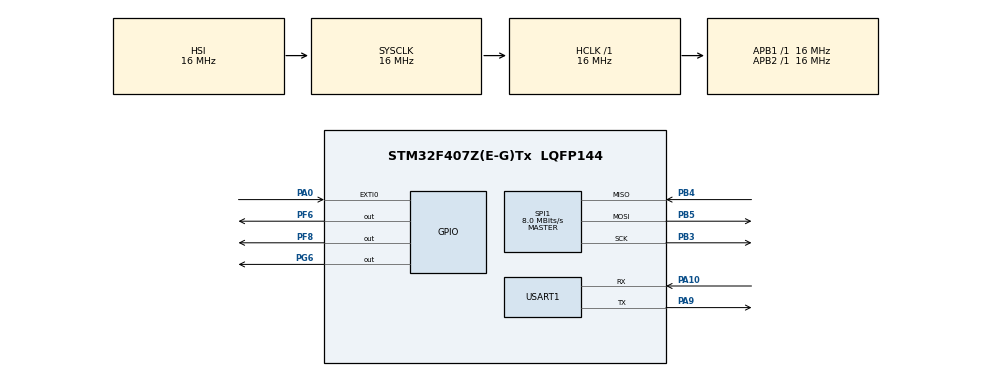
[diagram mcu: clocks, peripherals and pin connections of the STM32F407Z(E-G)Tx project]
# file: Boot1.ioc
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Mcu.Family=STM32F4
Mcu.Name=STM32F407Z(E-G)Tx
Mcu.Package=LQFP144
NVIC.EXTI0_IRQn=true\:0\:0\:true\:false\:true\:true\:true\:true
NVIC.PriorityGroup=NVIC_PRIORITYGROUP_4
NVIC.USART1_IRQn=true\:0\:0\:true\:false\:true\:true\:true\:true
PA0-WKUP.GPIO_ModeDefaultEXTI=GPIO_MODE_IT_RISING
PA0-WKUP.Signal=GPXTI0
PA10.Mode=Asynchronous
PA10.Signal=USART1_RX
PA13.Mode=Serial_Wire
PA13.Signal=SYS_JTMS-SWDIO
PA14.Mode=Serial_Wire
PA14.Signal=SYS_JTCK-SWCLK
PA9.Mode=Asynchronous
PA9.Signal=USART1_TX
PB3.Mode=Full_Duplex_Master
PB3.Signal=SPI1_SCK
PB4.Mode=Full_Duplex_Master
PB4.Signal=SPI1_MISO
PB5.Mode=Full_Duplex_Master
PB5.Signal=SPI1_MOSI
PF6.GPIO_ModeDefaultOutputPP=GPIO_MODE_OUTPUT_PP
PF6.GPIO_PuPd=GPIO_NOPULL
PF6.GPIO_Speed=GPIO_SPEED_FREQ_LOW
PF6.PinState=GPIO_PIN_SET
PF6.Signal=GPIO_Output
PF8.PinState=GPIO_PIN_SET
PF8.Signal=GPIO_Output
PG6.GPIO_PuPd=GPIO_PULLUP
PG6.PinState=GPIO_PIN_RESET
PG6.Signal=GPIO_Output
ProjectManager.HeapSize=0x200
ProjectManager.StackSize=0x400
ProjectManager.TargetToolchain=MDK-ARM V5.32
RCC.AHBFreq_Value=16000000
RCC.APB1Freq_Value=16000000
RCC.APB2Freq_Value=16000000
RCC.CortexFreq_Value=16000000
RCC.HSE_VALUE=25000000
RCC.HSI_VALUE=16000000
RCC.LSE_VALUE=32768
RCC.SYSCLKFreq_VALUE=16000000
RCC.VCOOutputFreq_Value=192000000
SPI1.CLKPhase=SPI_PHASE_2EDGE
SPI1.CLKPolarity=SPI_POLARITY_HIGH
SPI1.CalculateBaudRate=8.0 MBits/s
SPI1.Direction=SPI_DIRECTION_2LINES
SPI1.Mode=SPI_MODE_MASTER
SPI1.VirtualType=VM_MASTER
USART1.VirtualMode=VM_ASYNC
VP_RTC_VS_RTC_Activate.Mode=RTC_Enabled
board=custom

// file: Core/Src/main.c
/* USER CODE BEGIN Header */
/**
  ******************************************************************************
  * @file           : main.c
  * @brief          : Main program body
  ******************************************************************************
  * @attention
  *
  * Copyright (c) 2026 STMicroelectronics.
  * All rights reserved.
  *
  * This software is licensed under terms that can be found in the LICENSE file
  * in the root directory of this software component.
  * If no LICENSE file comes with this software, it is provided AS-IS.
  *
  ******************************************************************************
  */
/* USER CODE END Header */
#include "main.h"

/* USER CODE BEGIN Includes */
#include "SPI_FLASH.h"
#include "ProtocolFrame.h"
#include "FLASH_Transmit.h"
#include "A_B.h"
#include <string.h>

#include <stdio.h>
#include <stdarg.h>

/* USER CODE END Includes */

RTC_HandleTypeDef hrtc;

SPI_HandleTypeDef hspi1;

UART_HandleTypeDef huart1;

/* USER CODE BEGIN PV */

static char DataTx_BootMode[]="BOOT_MODE";
static char DataTx_Wait[]="\r\nWait  Data\r\n";
static char DataTx_jump[]="\r\njump to app\r\n";
static char DataTx_upgrade[]="\r\n enter upgrade mode\r\n";
static char DataTx_UKnow[]="\r\nUnknow cmd\r\n";

/* USER CODE END PV */

void SystemClock_Config(void);
static void MX_GPIO_Init(void);
static void MX_USART1_UART_Init(void);
static void MX_SPI1_Init(void);
static void MX_RTC_Init(void);

/* USER CODE BEGIN 0 */
volatile 	uint32_t Last_Data;
volatile	uint32_t Page_Num;
volatile uint32_t Addr;
volatile uint32_t Bin_Size;

uint8_t FLASH_Data[256];
uint8_t Frame_Val;
uint8_t ACK=0x06;
uint8_t NACK=0x15;
   //接收命令缓存
		volatile uint8_t RxCount=0;
		 uint8_t RxTemp=0;
		volatile uint8_t Rx_Flag_Cmd=0;
		char DataRx[32]={0};
static volatile  uint8_t key_pressed=0;

extern void OTA_Process(void);

#define APP_ADDRESS  0x08008000U
typedef void (*pFunction)(void);

void HAL_GPIO_EXTI_Callback(uint16_t GPIO_Pin)
{
    if (GPIO_Pin == GPIO_PIN_0)
    {
        key_pressed = 1;
    }
}

 void Uart_SendStr(char *str)
{
    HAL_UART_Transmit(&huart1, (uint8_t *)str, strlen(str), HAL_MAX_DELAY);
}

 void Uart_Printf(const char *fmt, ...)
{
    char buf[128];
    va_list args;

    va_start(args, fmt);
    vsnprintf(buf, sizeof(buf), fmt, args);
    va_end(args);

    HAL_UART_Transmit(&huart1, (uint8_t *)buf, strlen(buf), HAL_MAX_DELAY);
}
typedef struct
{
 	 uint32_t boot_mode;
	 uint32_t upgrade_mode;
} boot_flag;

	boot_flag BootFlag={0};

void JumpToApplication(void)
{
    uint32_t app_sp    = *(__IO uint32_t*)APP_ADDRESS;
    uint32_t app_reset = *(__IO uint32_t*)(APP_ADDRESS + 4);

    if ((app_sp & 0x2FFE0000U) == 0x20000000U)
    {
        __disable_irq();

        SysTick->CTRL = 0;
        SysTick->LOAD = 0;
        SysTick->VAL  = 0;

        for (uint32_t i = 0; i < 8; i++)
        {
            NVIC->ICER[i] = 0xFFFFFFFF;
            NVIC->ICPR[i] = 0xFFFFFFFF;
        }

        SCB->VTOR = APP_ADDRESS;
        __set_MSP(app_sp);

        pFunction app_entry = (pFunction)app_reset;
        app_entry();
    }
}

		//
		uint8_t Rx_Data_upgrade[268] = {0};
		uint8_t Rx_Data_First[268]={0};
    volatile uint8_t upgrade_block_ready = 0;
		  volatile uint8_t upgrade_rx_busy =0;
		volatile uint8_t Upgrade_complete=0;

void HAL_UART_RxCpltCallback(UART_HandleTypeDef *huart)
{
	if(huart->Instance == USART1)
	{

		if(BootFlag.upgrade_mode==1)
	{
//		HAL_UART_Receive_IT(&huart1,Rx_Data_upgrade,16);
		upgrade_block_ready=1;//字节已经收满
	}
		//将接收到的数据全部保存到DataRx中，然后置位Rx_Flag_Cmd=1以及Flag
		//当while检测到Rx_Flag_Cmd=1时，将DataRx数据输出到串口
   else if (Rx_Flag_Cmd == 0)   // 只有上一条还没处理完时，才继续往 DataRx 里装
     {
         if (RxTemp == '\r' || RxTemp == '\n')
         {
             if (RxCount > 0)
             {
                 DataRx[RxCount] = '\0';
                 Rx_Flag_Cmd = 1;
             }
         }

		 else if (RxCount < sizeof(DataRx) - 1)
          {
              DataRx[RxCount] = RxTemp;
              RxCount++;

						HAL_UART_Receive_IT(&huart1,&RxTemp,1);
          }

	}
 return;
}

}
uint8_t calculate(uint8_t *rx_buff)
{
    Bin_Size = Get_Bin_Size(rx_buff);

	   // 读取Bin大小
    Firmware_Info info = {0};
	    Read_Firmware_Info(FlAG_FLASH_ADDR, &info);
	    info.bin_size = Bin_Size;
	info.upgrade_flag = 1;//数据写入，表示有新固件
//    info.active_app = 0;
    info.valid_app=0;//未写入内部FLASH,不知道能否在APP中稳定运行
										//等待APP置1或者回滚版本置1
    Write_Firmware_Info(FlAG_FLASH_ADDR, &info);

    uint8_t Status = Sectors_Erase(Addr, Bin_Size);
    if(Status == 0)
    {
        Page_Num = Bin_Size / 256;
        Last_Data = Bin_Size % 256;
        return 0;
    }
    else
    {
        HAL_UART_Transmit(&huart1, (uint8_t*)"Erase Failed", 12, HAL_MAX_DELAY);
        return 1;
    }
}

void Upgrade_Mode(void)
{
	Addr = DOWNLOAD_FLASH_ADDR;

	    // 清空串口缓冲区
    __HAL_UART_FLUSH_DRREGISTER(&huart1);
	Frame_t *frame = (Frame_t *)Rx_Data_upgrade;

	//接收第一条指令
	 upgrade_block_ready = 0;
    HAL_UART_Receive_IT(&huart1, Rx_Data_First, 268);

    while(upgrade_block_ready == 0);

		if(Parse_Frame(Rx_Data_First) == 0)  // 先验证
	{
			if(calculate(Rx_Data_First) == 0)  // 再处理
			{
					HAL_UART_Transmit(&huart1,&ACK,1,HAL_MAX_DELAY);
			}
	else
    {
     	HAL_UART_Transmit(&huart1, (uint8_t*)"Failed\r\n", 8, 100);
    }

	}
    // 接收整页
    for(uint32_t i = 0; i < Page_Num; i++)
    {
        upgrade_block_ready = 0;

        HAL_UART_Receive_IT(&huart1, Rx_Data_upgrade, 268);

			while(upgrade_block_ready == 0);  // 等待接收完成,为1会跳出循环

			Frame_Val=Parse_Frame(Rx_Data_upgrade);

			if(Frame_Val==0)
			{
			Page_Program(Addr, frame->data, 256);
		  Addr += 256;

			HAL_UART_Transmit(&huart1,&ACK,1,HAL_MAX_DELAY);
			}
			else
			{
			HAL_UART_Transmit(&huart1,&NACK,1,HAL_MAX_DELAY);
			}
		}
if(Last_Data > 0)
{
    upgrade_block_ready = 0;
    HAL_UART_Receive_IT(&huart1, Rx_Data_upgrade, 268);  // 改成 268

    while(upgrade_block_ready == 0);

    Frame_Val = Parse_Frame(Rx_Data_upgrade);

    if(Frame_Val == 0)
    {
        Page_Program(Addr, frame->data, Last_Data);  // 只写有效数据
        HAL_UART_Transmit(&huart1, &ACK, 1, HAL_MAX_DELAY);
    }
    else
    {
        HAL_UART_Transmit(&huart1, &NACK, 1, HAL_MAX_DELAY);
    }
}
    // 升级完成
    HAL_UART_Transmit(&huart1, (uint8_t*)"Upgrade Done\r\n", 14, 100);
    BootFlag.upgrade_mode = 0;
		Upgrade_complete=1;
}

void Boot_ProcessCmd(char *pDataRx)
{
			if(strcmp(pDataRx, "info") == 0)
			{
				//当前运行版本的信息
				Firmware_Info Info = {0};
				Read_Firmware_Info(FlAG_FLASH_ADDR, &Info);

     Uart_Printf("flag:%d valid:%d active:%02X size:%lu\r\n",
                Info.upgrade_flag,
                Info.valid_app,
                Info.active_app,
                Info.bin_size);
			}
			else if(strcmp(pDataRx, "jump") == 0)
			{
			HAL_UART_Transmit(&huart1,(uint8_t*)DataTx_jump,strlen(DataTx_jump),100);
				JumpToApplication();
			}
			else if(strcmp(pDataRx, "upgrade") == 0)
			{
			HAL_UART_Transmit(&huart1,(uint8_t*)DataTx_upgrade,strlen(DataTx_upgrade),100);

			Rx_Flag_Cmd=0;
			memset(DataRx,0,sizeof(DataRx));
			RxCount=0;
			BootFlag.upgrade_mode=1;

			HAL_UART_AbortReceive(&huart1);

			}
			else
			{
			HAL_UART_Transmit(&huart1,(uint8_t*)DataTx_UKnow,strlen(DataTx_UKnow),100);

			}

}

void Boot_Wait(void)
	{
		HAL_UART_Receive_IT(&huart1,&RxTemp,1);
		HAL_UART_Transmit(&huart1,(uint8_t*)DataTx_BootMode,strlen(DataTx_BootMode),100);
		HAL_UART_Transmit(&huart1,(uint8_t*)DataTx_Wait,strlen(DataTx_Wait),100);

	 while(1)
	 {
	 HAL_GPIO_WritePin(GPIOF,GPIO_PIN_8,GPIO_PIN_RESET);
		HAL_Delay(50);
			 HAL_GPIO_WritePin(GPIOF,GPIO_PIN_8,GPIO_PIN_SET);
		HAL_Delay(50);

		 if(BootFlag.upgrade_mode==1)
			{
				Upgrade_Mode();

				if(Upgrade_complete==1)
				{

				}
			}

		else if(Rx_Flag_Cmd==1)
		{
		Rx_Flag_Cmd=0;

		//	HAL_UART_Transmit(&huart1,(uint8_t*)DataRx,strlen(DataRx),100);
			Boot_ProcessCmd(DataRx);

			memset(DataRx,0,sizeof(DataRx));
			RxCount=0;

			if(BootFlag.upgrade_mode==0)
			{

			HAL_UART_Transmit(&huart1,(uint8_t*)DataTx_Wait,strlen(DataTx_Wait),100);

			}

		}
		}
}

/* USER CODE END 0 */

int main(void)
{

  /* USER CODE BEGIN 1 */
	uint32_t CurrentTime;
	uint32_t StarttTime;
  uint32_t Backup_Reg;
  /* USER CODE END 1 */

  /* MCU Configuration--------------------------------------------------------*/

  /* Reset of all peripherals, Initializes the Flash interface and the Systick. */
  HAL_Init();

  /* Configure the system clock */
  SystemClock_Config();

  /* Initialize all configured peripherals */
  MX_GPIO_Init();
  MX_USART1_UART_Init();
  MX_SPI1_Init();
  MX_RTC_Init();
  /* USER CODE BEGIN 2 */
HAL_GPIO_WritePin(GPIOG,GPIO_PIN_6,GPIO_PIN_SET);
	HAL_UART_Transmit(&huart1,(uint8_t *)"boot start\r\n",13,HAL_MAX_DELAY);

/////////////////////////////////////////////////////////
		Firmware_Info info={0};
	  Read_Firmware_Info(FlAG_FLASH_ADDR, &info);

		Backup_Reg=HAL_RTCEx_BKUPRead(&hrtc,RTC_BKP_DR1);

		if(info.valid_app==0)
		{
		if(Backup_Reg==VALID_APP)
		{
	HAL_RTCEx_BKUPWrite(&hrtc,RTC_BKP_DR1,0);
		info.valid_app=1;
			HAL_UART_Transmit(&huart1,(uint8_t *)"App is running!\r\n",16,HAL_MAX_DELAY);
		}
	}

		Write_Firmware_Info(FlAG_FLASH_ADDR,&info);

		Uart_Printf("magic:%08lX size:%lu flag:%d valid:%d active:%02X\r\n",
            info.magic, info.bin_size,
            info.upgrade_flag, info.valid_app, info.active_app);

	  if(info.magic!=INFO_MAGIC)
		{
	   Init_Firmware_Info();
		}
   OTA_Process();
///////////////////////////////////////////////////////
    StarttTime=HAL_GetTick();
		CurrentTime=HAL_GetTick();
		while((CurrentTime-StarttTime)<3000)
		{
			HAL_GPIO_WritePin(GPIOF,GPIO_PIN_6,GPIO_PIN_RESET);
			HAL_Delay(100);
			HAL_GPIO_WritePin(GPIOF,GPIO_PIN_6,GPIO_PIN_SET);
			HAL_Delay(100);

			if(key_pressed==1)
			{
			BootFlag.boot_mode=1;
			break;
			}

			CurrentTime=HAL_GetTick();
		}

		if(BootFlag.boot_mode==1)
		{
			Boot_Wait();
		}
		else
			JumpToApplication();

  /* USER CODE END 2 */

  /* Infinite loop */
			while (1)
			{

			}
}

void SystemClock_Config(void)
{
  RCC_OscInitTypeDef RCC_OscInitStruct = {0};
  RCC_ClkInitTypeDef RCC_ClkInitStruct = {0};

  /** Configure the main internal regulator output voltage
  */
  __HAL_RCC_PWR_CLK_ENABLE();
  __HAL_PWR_VOLTAGESCALING_CONFIG(PWR_REGULATOR_VOLTAGE_SCALE1);

  /** Initializes the RCC Oscillators according to the specified parameters
  * in the RCC_OscInitTypeDef structure.
  */
  RCC_OscInitStruct.OscillatorType = RCC_OSCILLATORTYPE_HSI|RCC_OSCILLATORTYPE_LSI;
  RCC_OscInitStruct.HSIState = RCC_HSI_ON;
  RCC_OscInitStruct.HSICalibrationValue = RCC_HSICALIBRATION_DEFAULT;
  RCC_OscInitStruct.LSIState = RCC_LSI_ON;
  RCC_OscInitStruct.PLL.PLLState = RCC_PLL_NONE;
  if (HAL_RCC_OscConfig(&RCC_OscInitStruct) != HAL_OK)
  {
    Error_Handler();
  }

  /** Initializes the CPU, AHB and APB buses clocks
  */
  RCC_ClkInitStruct.ClockType = RCC_CLOCKTYPE_HCLK|RCC_CLOCKTYPE_SYSCLK
                              |RCC_CLOCKTYPE_PCLK1|RCC_CLOCKTYPE_PCLK2;
  RCC_ClkInitStruct.SYSCLKSource = RCC_SYSCLKSOURCE_HSI;
  RCC_ClkInitStruct.AHBCLKDivider = RCC_SYSCLK_DIV1;
  RCC_ClkInitStruct.APB1CLKDivider = RCC_HCLK_DIV1;
  RCC_ClkInitStruct.APB2CLKDivider = RCC_HCLK_DIV1;

  if (HAL_RCC_ClockConfig(&RCC_ClkInitStruct, FLASH_LATENCY_0) != HAL_OK)
  {
    Error_Handler();
  }
}

static void MX_RTC_Init(void)
{

  /** Initialize RTC Only
  */
  hrtc.Instance = RTC;
  hrtc.Init.HourFormat = RTC_HOURFORMAT_24;
  hrtc.Init.AsynchPrediv = 127;
  hrtc.Init.SynchPrediv = 255;
  hrtc.Init.OutPut = RTC_OUTPUT_DISABLE;
  hrtc.Init.OutPutPolarity = RTC_OUTPUT_POLARITY_HIGH;
  hrtc.Init.OutPutType = RTC_OUTPUT_TYPE_OPENDRAIN;
  if (HAL_RTC_Init(&hrtc) != HAL_OK)
  {
    Error_Handler();
  }

}

static void MX_SPI1_Init(void)
{

  /* SPI1 parameter configuration*/
  hspi1.Instance = SPI1;
  hspi1.Init.Mode = SPI_MODE_MASTER;
  hspi1.Init.Direction = SPI_DIRECTION_2LINES;
  hspi1.Init.DataSize = SPI_DATASIZE_8BIT;
  hspi1.Init.CLKPolarity = SPI_POLARITY_HIGH;
  hspi1.Init.CLKPhase = SPI_PHASE_2EDGE;
  hspi1.Init.NSS = SPI_NSS_SOFT;
  hspi1.Init.BaudRatePrescaler = SPI_BAUDRATEPRESCALER_2;
  hspi1.Init.FirstBit = SPI_FIRSTBIT_MSB;
  hspi1.Init.TIMode = SPI_TIMODE_DISABLE;
  hspi1.Init.CRCCalculation = SPI_CRCCALCULATION_DISABLE;
  hspi1.Init.CRCPolynomial = 10;
  if (HAL_SPI_Init(&hspi1) != HAL_OK)
  {
    Error_Handler();
  }

}

static void MX_USART1_UART_Init(void)
{

  huart1.Instance = USART1;
  huart1.Init.BaudRate = 115200;
  huart1.Init.WordLength = UART_WORDLENGTH_8B;
  huart1.Init.StopBits = UART_STOPBITS_1;
  huart1.Init.Parity = UART_PARITY_NONE;
  huart1.Init.Mode = UART_MODE_TX_RX;
  huart1.Init.HwFlowCtl = UART_HWCONTROL_NONE;
  huart1.Init.OverSampling = UART_OVERSAMPLING_16;
  if (HAL_UART_Init(&huart1) != HAL_OK)
  {
    Error_Handler();
  }

}

static void MX_GPIO_Init(void)
{
  GPIO_InitTypeDef GPIO_InitStruct = {0};

  /* GPIO Ports Clock Enable */
  __HAL_RCC_GPIOF_CLK_ENABLE();
  __HAL_RCC_GPIOA_CLK_ENABLE();
  __HAL_RCC_GPIOG_CLK_ENABLE();
  __HAL_RCC_GPIOB_CLK_ENABLE();

  /*Configure GPIO pin Output Level */
  HAL_GPIO_WritePin(GPIOF, GPIO_PIN_6|GPIO_PIN_8, GPIO_PIN_SET);

  /*Configure GPIO pin Output Level */
  HAL_GPIO_WritePin(GPIOG, GPIO_PIN_6, GPIO_PIN_RESET);

  /*Configure GPIO pins : PF6 PF8 */
  GPIO_InitStruct.Pin = GPIO_PIN_6|GPIO_PIN_8;
  GPIO_InitStruct.Mode = GPIO_MODE_OUTPUT_PP;
  GPIO_InitStruct.Pull = GPIO_NOPULL;
  GPIO_InitStruct.Speed = GPIO_SPEED_FREQ_LOW;
  HAL_GPIO_Init(GPIOF, &GPIO_InitStruct);

  /*Configure GPIO pin : PA0 */
  GPIO_InitStruct.Pin = GPIO_PIN_0;
  GPIO_InitStruct.Mode = GPIO_MODE_IT_RISING;
  GPIO_InitStruct.Pull = GPIO_NOPULL;
  HAL_GPIO_Init(GPIOA, &GPIO_InitStruct);

  /*Configure GPIO pin : PG6 */
  GPIO_InitStruct.Pin = GPIO_PIN_6;
  GPIO_InitStruct.Mode = GPIO_MODE_OUTPUT_PP;
  GPIO_InitStruct.Pull = GPIO_PULLUP;
  GPIO_InitStruct.Speed = GPIO_SPEED_FREQ_LOW;
  HAL_GPIO_Init(GPIOG, &GPIO_InitStruct);

  /* EXTI interrupt init*/
  HAL_NVIC_SetPriority(EXTI0_IRQn, 0, 0);
  HAL_NVIC_EnableIRQ(EXTI0_IRQn);

}

void Error_Handler(void)
{
  __disable_irq();
  while (1)
  {
  }
}
